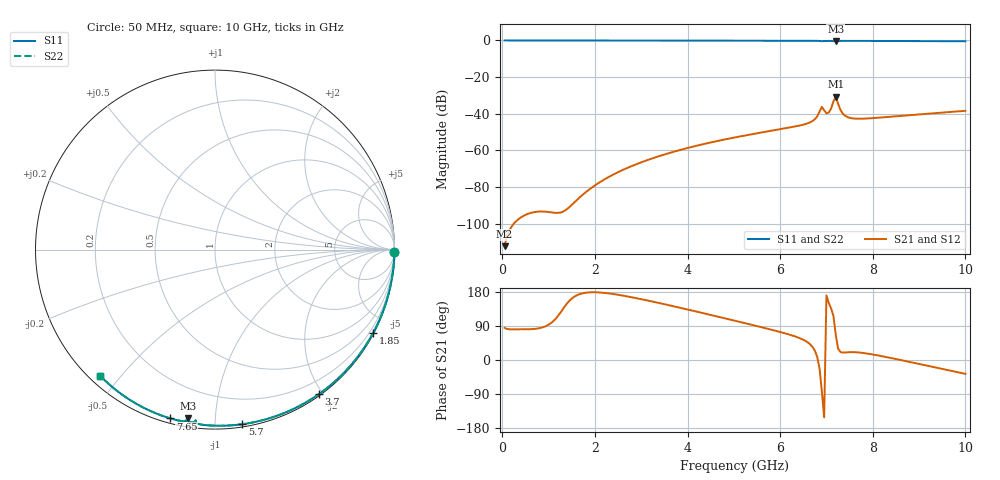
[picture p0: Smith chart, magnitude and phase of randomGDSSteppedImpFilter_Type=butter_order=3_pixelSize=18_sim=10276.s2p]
! freq	dB(S11)	phase(S11)	dB(S12)	phase(S12)
!  dB(S21)	phase(S21)	dB(S22)	phase(S22)
!S-par simulation data
#  GHz  S  DB  R 50
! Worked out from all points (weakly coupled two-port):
!   200 points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, 50 MHz to 10 GHz, reference 50 ohm
!   highest |S21| = -30.66 dB at 7.2 GHz (marker M1); lowest = -112.3 dB at 50 MHz (marker M2)
!   lowest |S11| = -0.4 dB at 7.2 GHz (marker M3), VSWR 38.92, Z = 2.22 - j42.6 ohm
!   |S11| at or under -10 dB: nowhere
!   |S22| runs from -0.4 to 0.0 dB; largest |S21 - S12| = 0
!   S11 on the Smith chart (normalised r, x): 50 MHz: open; 1.85 GHz: 0.04, -4.04; 3.7 GHz: 0.02, -1.95; 5.7 GHz: 0.02, -1.17; 7.65 GHz: 0.02, -0.77; 10 GHz: 0.03, -0.44
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0.05  -0.00 -0.8  -112.32 84.7  -112.32 84.7  -0.00 -0.8
1.75  -0.03 -26.4  -83.96 176.4  -83.96 176.4  -0.03 -26.4
1.85  -0.04 -27.8  -81.91 178.2  -81.91 178.2  -0.04 -27.8
1.95  -0.04 -29.3  -80.03 178.8  -80.03 178.8  -0.04 -29.3
2.75  -0.05 -40.9  -69.05 166.6  -69.05 166.6  -0.05 -40.9
3.4  -0.07 -50.2  -63.05 150.0  -63.05 150.0  -0.07 -50.2
3.7  -0.07 -54.4  -60.77 141.7  -60.77 141.7  -0.07 -54.4
5.05  -0.11 -72.7  -52.81 102.8  -52.81 102.8  -0.11 -72.7
5.7  -0.13 -81.1  -49.81 83.4  -49.81 83.4  -0.13 -81.1
6.4  -0.17 -90.1  -46.59 58.8  -46.59 58.8  -0.17 -90.1
6.7  -0.19 -94.0  -43.96 34.3  -43.96 34.3  -0.19 -94.0
6.8  -0.21 -95.5  -41.44 8.3  -41.44 8.3  -0.21 -95.5
6.9  -0.38 -96.5  -36.28 -82.5  -36.28 -82.5  -0.38 -96.5
7  -0.26 -97.1  -39.78 170.6  -39.78 170.6  -0.26 -97.1
7.05  -0.25 -97.9  -39.35 150.1  -39.35 150.1  -0.25 -97.9
7.2  -0.45 -99.1  -30.66 67.5  -30.66 67.5  -0.44 -99.1
7.3  -0.25 -100.1  -37.84 21.3  -37.84 21.3  -0.25 -100.2
7.35  -0.23 -100.9  -39.85 19.6  -39.85 19.6  -0.23 -100.9
7.45  -0.23 -102.3  -41.77 20.3  -41.77 20.3  -0.23 -102.3
7.65  -0.24 -104.8  -42.71 20.3  -42.71 20.3  -0.24 -104.8
8.35  -0.29 -113.2  -41.70 6.4  -41.70 6.4  -0.29 -113.2
10  -0.44 -132.2  -38.44 -36.6  -38.44 -36.6  -0.44 -132.2
